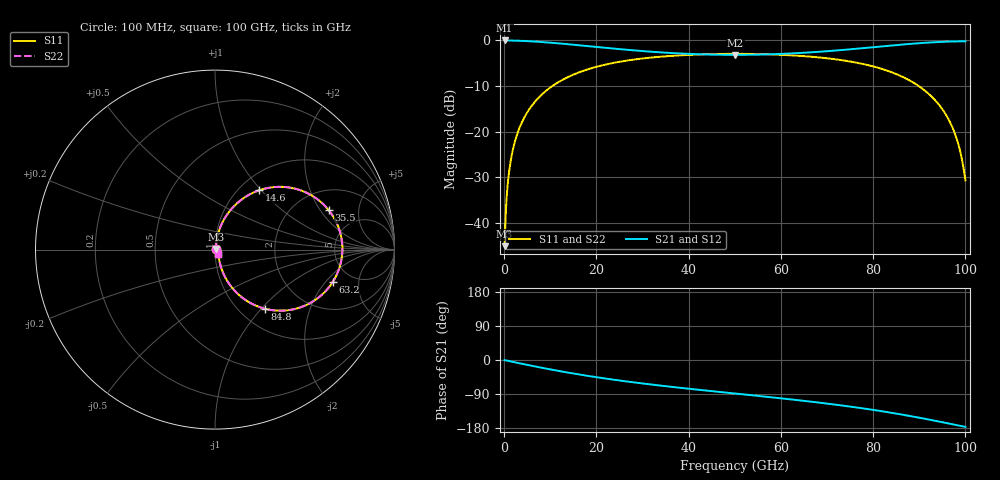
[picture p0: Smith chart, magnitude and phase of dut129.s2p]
! Touchstone file exported from HFSS 2026.1.0
!  File:  C:/ffzhzh/LocalFiles/Ansys_Project_Files/temp_train_RDL_129_1783499564_31944.aedt
!  Generated:  04:33:59 PM Jul  8, 2026
!  Design:  RDL
!  Project:  temp_train_RDL_129_1783499564_31944
! Variables:
!  h_bsmrdl = 2um
!  h_ox = 20um
!  h_rdl = 5um
!  h_sub = 80um
!  h_tmrdl = 4.83um
!  h_tsv = 80um
!  h_via = 3um
!  l_bsmrdl = 300um
!  l_sub = 1001.78um
!  l_tmrdl = 601.78um
!  m_sub = 200um
!  pitch = 48.61um
!  r_tsv = 6um
!  s_tmrdl = 10um
!  w_bsmrdl = 18um
!  w_sub = 500um
!  w_tmrdl = 10.16um
!  x_tsv_center1 = 606.86um
!  x_tsv_center2 = 924.86um
!  x_tsv_center3 = 1536.8um
!  x_tsv_center4 = 1854.8um
!  x_tsv_center5 = 2466.74um
!  x_tsv_center6 = 2784.74um
# GHz S MA R 50.000000
! Terminal data exported
! Port[1] = TM_RDL1_1_T1
! Port[2] = TM_RDL1_1_T2
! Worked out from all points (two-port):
!   1000 points, 100 MHz to 100 GHz, reference 50 ohm
!   highest |S21| = -0.04 dB at 100 MHz (marker M1); lowest = -3.2 dB at 50.1 GHz (marker M2)
!   |S21| within 3 dB of the highest: start of sweep to 41.53 GHz; 58.75 GHz to end of sweep
!   lowest |S11| = -45.1 dB at 100 MHz (marker M3), VSWR 1.01, Z = 50.4 + j0.345 ohm
!   |S11| at or under -10 dB: start of sweep to 10.5 GHz; 89.85 GHz to end of sweep
!   |S22| runs from -45.1 to -3.0 dB; largest |S21 - S12| = 1.8e-14
!   S11 on the Smith chart (normalised r, x): 100 MHz: 1.01, +0.01; 14.6 GHz: 1.22, +0.97; 35.5 GHz: 3.01, +2.41; 63.2 GHz: 3.53, -2.39; 84.8 GHz: 1.29, -1.05; 100 GHz: 1.04, -0.05
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0.1  0.005535 38.1  0.9957 -0.3  0.9957 -0.3  0.005535 38.1
! Gamma 0 0 0 0
! Port Impedance 50 0 50 0
0.8  0.02736 77.8  0.9948 -2.1  0.9948 -2.1  0.02736 77.8
1.4  0.04705 80.1  0.9938 -3.7  0.9938 -3.7  0.04705 80.1
2.3  0.07651 79.8  0.9915 -6.0  0.9915 -6.0  0.07651 79.8
3.6  0.1183 77.5  0.9864 -9.3  0.9864 -9.3  0.1183 77.5
5.5  0.1772 73.2  0.976 -14.1  0.976 -14.1  0.1772 73.2
7.9  0.2469 67.7  0.959 -19.9  0.959 -19.9  0.2469 67.7
14.6  0.4118 53.4  0.8983 -34.8  0.8983 -34.8  0.4118 53.4
16.8  0.456 49.0  0.8766 -39.3  0.8766 -39.3  0.456 49.0
24.1  0.5702 36.0  0.8077 -52.6  0.8077 -52.6  0.5702 36.0
33.4  0.6576 22.0  0.74 -66.9  0.74 -66.9  0.6576 22.1
35.5  0.6705 19.2  0.7287 -69.8  0.7287 -69.8  0.6705 19.2
50.1  0.7098 0.8  0.6924 -88.5  0.6924 -88.5  0.7097 0.8
63.2  0.6796 -15.6  0.7212 -105.3  0.7212 -105.3  0.6796 -15.5
66.7  0.6597 -20.3  0.7387 -110.2  0.7387 -110.2  0.6596 -20.3
76.1  0.572 -34.4  0.8053 -124.7  0.8053 -124.7  0.572 -34.4
83.4  0.4582 -47.2  0.8712 -138.2  0.8712 -138.2  0.4582 -47.2
84.8  0.4308 -49.9  0.8842 -141.0  0.8842 -141.0  0.4308 -49.8
90.8  0.2918 -61.7  0.9355 -154.1  0.9355 -154.1  0.2918 -61.7
95.1  0.1728 -69.4  0.9621 -164.3  0.9621 -164.3  0.1727 -69.4
97.9  0.08966 -70.7  0.972 -171.2  0.972 -171.2  0.08955 -70.9
100  0.02914 -50.1  0.9748 -176.5  0.9748 -176.5  0.02887 -50.7
